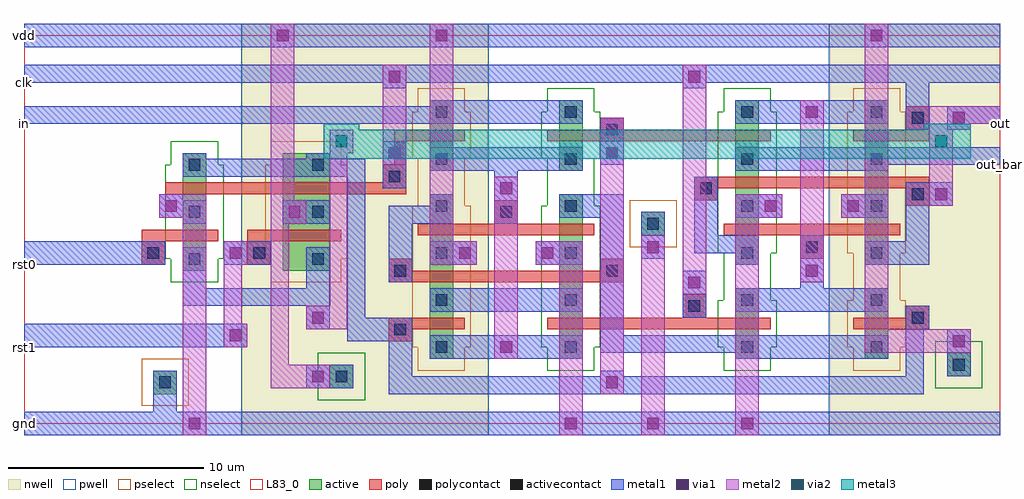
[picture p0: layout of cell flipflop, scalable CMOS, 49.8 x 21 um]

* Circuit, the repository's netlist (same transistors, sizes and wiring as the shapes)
.SUBCKT dlatch din dout dout_bar clk clk_bar vdd gnd
M1 din clk int1 vdd p w=1.2u l=0.6u
M2 din clk_bar int1 gnd n w=1.2u l=0.6u
M3 dout_bar int1 vdd vdd p w=1.2u l=0.6u
M4 dout_bar int1 gnd gnd n w=1.2u l=0.6u
M5 dout dout_bar vdd vdd p w=1.2u l=0.6u
M6 dout dout_bar gnd gnd n w=1.2u l=0.6u
M7 int1 clk_bar dout vdd p w=1.2u l=0.6u
M8 int1 clk dout gnd n w=1.2u l=0.6u
.ENDS dlatch

.SUBCKT flipflop in out out_bar clk rst0 rst1 vdd gnd
M1 clk_bar clk vdd vdd p w=2.4u l=0.6u
M2 clk_bar clk gnd gnd n w=1.2u l=0.6u
M3 out rst1 vdd vdd p w=2.4u l=0.6u
M4 out rst0 gnd gnd n w=1.2u l=0.6u
Xmaster in mout mout_bar clk clk_bar vdd gnd dlatch
Xslave mout_bar out_bar out clk_bar clk vdd gnd dlatch
.ENDS flipflop

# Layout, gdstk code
import gdstk
lib = gdstk.Library(unit=1e-6, precision=1e-09)
def R(c, l, rs):  # rectangles x0, y0, x1, y1
    for r in rs: c.add(gdstk.rectangle(r[:2], r[2:], *l))
def A(c, l, x, y, w, h, nx, ny, dx, dy):  # array of equal rectangles
    R(c, l, [(x+i*dx, y+j*dy, x+i*dx+w, y+j*dy+h) for i in range(nx) for j in range(ny)])
pwell = (41, 0)
nwell = (42, 0)
active = (43, 0)
pselect = (44, 0)
nselect = (45, 0)
poly = (46, 0)
polycontact = (47, 0)
activecontact = (48, 0)
metal1 = (49, 0)
via1 = (50, 0)
metal2 = (51, 0)
via2 = (61, 0)
metal3 = (62, 0)
L83_0 = (83, 0)

flipflop = lib.new_cell('flipflop')
R(flipflop, pwell, [(0,-0.6,11.1,20.4), (23.7,-0.6,41.1,20.4)])
R(flipflop, nwell, [(11.1,-0.6,23.7,20.4), (41.1,-0.6,49.8,20.4)])
R(flipflop, active, [(6.6,1.5,7.8,2.7), (15.6,1.8,16.8,3), (47.1,2.4,48.3,3.6), (20.7,3.3,21.9,11.7), (27.3,3.3,28.5,11.7), (36.3,3.3,37.5,6.9), (42.9,3.3,44.1,6.9), (8.1,7.8,9.3,13.8), (13.2,7.8,15.6,13.8), (36.3,8.1,37.5,16.5), (42.9,8.1,44.1,16.5), (31.5,9.6,32.7,10.8), (20.7,12.9,21.9,16.5), (27.3,12.9,28.5,16.5)])
R(flipflop, pselect, [(6,0.9,8.4,3.3), (20.1,2.7,22.5,3.9), (42.3,2.7,44.7,3.9), (19.8,3.9,22.8,11.1), (42,3.9,45,6.3), (42.3,6.3,44.7,8.7), (12.6,7.2,16.2,8.4), (12.3,8.4,16.5,13.2), (42,8.7,45,15.9), (30.9,9,33.3,11.4), (20.1,11.1,22.5,13.5), (12.6,13.2,16.2,14.4), (19.8,13.5,22.8,15.9), (20.1,15.9,22.5,17.1), (42.3,15.9,44.7,17.1)])
R(flipflop, nselect, [(15,1.2,17.4,3.6), (46.5,1.8,48.9,4.2), (26.7,2.7,29.1,3.9), (35.7,2.7,38.1,3.9), (26.4,3.9,29.4,11.1), (35.4,3.9,38.4,6.3), (35.7,6.3,38.1,8.7), (7.5,7.2,9.9,8.4), (7.2,8.4,10.2,13.2), (35.4,8.7,38.4,15.9), (26.7,11.1,29.1,13.5), (7.5,13.2,9.9,14.4), (26.4,13.5,29.4,15.9), (26.7,15.9,29.1,17.1), (35.7,15.9,38.1,17.1)])
R(flipflop, poly, [(18.6,4.2,19.8,4.8), (18.6,4.8,22.5,5.4), (26.7,4.8,38.1,5.4), (42.3,4.8,46.2,5.4), (33.6,5.4,34.8,6.6), (45,5.4,46.2,6), (18.6,7.2,30.6,7.8), (18.6,7.8,19.8,8.4), (29.4,7.8,30.6,8.4), (6,8.1,7.2,9.3), (11.4,8.1,12.6,9.3), (39.6,8.4,40.8,9.6), (6,9.3,9.9,9.9), (11.4,9.3,16.2,9.9), (20.1,9.6,29.1,10.2), (35.7,9.6,44.7,10.2), (24,10.2,25.2,11.4), (45,11.1,46.2,12), (34.2,11.4,35.4,12), (7.2,11.7,19.5,12.3), (34.2,12,46.2,12.6), (18.3,12.3,19.5,13.2), (18.9,13.2,19.5,14.4), (18.9,14.4,22.5,15), (26.7,14.4,38.1,15), (42.3,14.4,46.2,15), (29.4,15,30.6,15.6), (45,15,46.2,16.2)])
R(flipflop, polycontact, [(18.9,4.5,19.5,5.1), (45.3,5.1,45.9,5.7), (33.9,5.7,34.5,6.3), (18.9,7.5,19.5,8.1), (29.7,7.5,30.3,8.1), (6.3,8.4,6.9,9), (11.7,8.4,12.3,9), (39.9,8.7,40.5,9.3), (24.3,10.5,24.9,11.1), (45.3,11.4,45.9,12), (34.5,11.7,35.1,12.3), (18.6,12.3,19.2,12.9), (29.7,14.7,30.3,15.3), (45.3,15.3,45.9,15.9)])
A(flipflop, activecontact, 21, 3.6, 0.6, 0.6, 1, 6, 0, 2.4)
A(flipflop, activecontact, 27.6, 3.6, 0.6, 0.6, 1, 6, 0, 2.4)
A(flipflop, activecontact, 36.6, 3.6, 0.6, 0.6, 1, 6, 0, 2.4)
A(flipflop, activecontact, 43.2, 3.6, 0.6, 0.6, 1, 6, 0, 2.4)
A(flipflop, activecontact, 8.4, 8.1, 0.6, 0.6, 1, 3, 0, 2.4)
A(flipflop, activecontact, 14.7, 8.1, 0.6, 0.6, 1, 3, 0, 2.4)
R(flipflop, activecontact, [(6.9,1.8,7.5,2.4), (15.9,2.1,16.5,2.7), (47.4,2.7,48,3.3), (31.8,9.9,32.4,10.5)])
R(flipflop, metal1, [(0,-0.6,49.8,0.6), (6.6,0.6,7.8,2.7), (18.6,1.5,45.9,2.4), (14.4,1.8,16.8,3), (18.6,2.4,19.8,4.2), (29.4,2.4,30.6,2.7), (45,2.4,45.9,4.8), (47.1,2.4,48.3,4.8), (20.7,3.3,28.5,4.5), (36.3,3.3,44.1,3.6), (29.4,3.6,44.1,4.5), (0,3.9,11.4,5.1), (16.5,4.2,19.8,5.4), (29.4,4.5,30.6,10.5), (14.4,4.8,15.6,6), (45,4.8,46.2,6), (16.5,5.4,17.4,12.6), (33.6,5.4,34.8,7.8), (20.7,5.7,28.5,6.9), (36.3,5.7,44.1,6.9), (8.1,6,15.6,6.9), (8.1,6.9,9.3,9), (14.4,6.9,15.6,9), (39.6,6.9,40.8,9.6), (18.6,7.2,19.8,10.2), (0,8.1,7.2,9.3), (10.2,8.1,12.6,9.3), (20.7,8.1,23.1,9.3), (26.1,8.1,28.5,9.3), (36.3,8.1,37.5,8.7), (42.9,8.1,46.2,9.3), (31.5,8.4,32.7,10.8), (34.2,8.7,37.5,9.6), (45,9.3,46.2,11.1), (34.2,9.6,35.4,12.6), (8.1,10.2,9.3,10.5), (13.2,10.2,15.6,11.4), (18.6,10.2,21.9,11.1), (24,10.2,25.2,12.9), (6.9,10.5,9.3,11.4), (27.3,10.5,30.6,11.7), (36.3,10.5,38.7,11.7), (41.7,10.5,44.1,11.7), (20.7,11.1,21.9,11.7), (45,11.1,47.4,12.3), (6.9,11.4,8.1,11.7), (18.3,12,19.5,14.4), (8.1,12.6,17.4,13.5), (20.7,12.9,28.5,14.1), (36.3,12.9,44.1,13.2), (29.4,13.2,30.6,15.6), (36.3,13.2,49.8,14.1), (8.1,13.5,9.3,13.8), (14.4,13.5,15.6,13.8), (45,15,46.2,17.4), (47.1,15,48.3,15.3), (0,15.3,28.5,16.2), (36.3,15.3,44.1,16.5), (47.1,15.3,49.8,16.2), (20.7,16.2,28.5,16.5), (18.3,17.1,19.5,17.4), (33.6,17.1,34.8,17.4), (0,17.4,49.8,18.3), (0,19.2,49.8,20.4)])
R(flipflop, via1, [(8.4,-0.3,9,0.3), (27.6,-0.3,28.2,0.3), (31.8,-0.3,32.4,0.3), (36.6,-0.3,37.2,0.3), (29.7,1.8,30.3,2.4), (14.7,2.1,15.3,2.7), (24.3,3.6,24.9,4.2), (47.4,3.9,48,4.5), (10.5,4.2,11.1,4.8), (14.7,5.1,15.3,5.7), (33.9,6.9,34.5,7.5), (39.9,7.5,40.5,8.1), (10.5,8.4,11.1,9), (22.2,8.4,22.8,9), (26.4,8.4,27,9), (31.8,8.7,32.4,9.3), (13.5,10.5,14.1,11.1), (7.2,10.8,7.8,11.4), (37.8,10.8,38.4,11.4), (42,10.8,42.6,11.4), (46.5,11.4,47.1,12), (24.3,11.7,24.9,12.3), (18.6,13.5,19.2,14.1), (29.7,13.5,30.3,14.1), (47.4,15.3,48,15.9), (39.9,15.6,40.5,16.2), (18.6,17.4,19.2,18), (33.9,17.4,34.5,18), (12.9,19.5,13.5,20.1), (21,19.5,21.6,20.1), (43.2,19.5,43.8,20.1)])
R(flipflop, metal2, [(8.1,-0.6,9.3,10.5), (27.3,-0.6,28.5,8.1), (31.5,-0.6,32.7,9.6), (36.3,-0.6,37.5,10.5), (29.4,1.5,30.6,15.6), (12.6,1.8,15.6,3), (12.6,3,13.5,10.2), (24,3.3,25.2,12.6), (42.9,3.6,48.3,4.8), (10.2,3.9,11.4,5.1), (14.4,4.8,16.5,6), (42.9,4.8,44.1,10.5), (10.2,5.1,11.1,8.1), (15.6,6,16.5,13.8), (33.6,6.6,34.8,18.3), (39.6,7.2,40.8,16.5), (10.2,8.1,11.4,9.3), (20.7,8.1,23.1,9.3), (26.1,8.1,28.5,9.3), (20.7,9.3,21.9,20.4), (12.6,10.2,14.4,11.4), (6.9,10.5,9.3,11.7), (36.3,10.5,38.7,11.7), (41.7,10.5,44.1,11.7), (46.2,11.1,47.4,15), (12.6,11.4,13.8,20.4), (42.9,11.7,44.1,20.4), (18.3,13.2,19.5,18.3), (15.6,13.8,16.8,15), (46.2,15,48.3,15.3), (46.2,15.3,49.8,16.2)])
R(flipflop, via2, [(15.9,14.1,16.5,14.7), (46.5,14.1,47.1,14.7)])
R(flipflop, metal3, [(15.3,13.5,48.3,15), (15.3,15,17.1,15.3), (45.9,15,48.3,15.3)])
R(flipflop, L83_0, [(0,0,49.8,19.8)])
flipflop.add(gdstk.Label('out', (49.8,15.3), layer=49, texttype=0))
flipflop.add(gdstk.Label('out_bar', (49.8,13.2), layer=49, texttype=0))
flipflop.add(gdstk.Label('clk', (0,17.4), layer=49, texttype=0))
flipflop.add(gdstk.Label('vdd', (0,19.8), layer=49, texttype=0))
flipflop.add(gdstk.Label('in', (0,15.3), layer=49, texttype=0))
flipflop.add(gdstk.Label('rst0', (0,8.1), layer=49, texttype=0))
flipflop.add(gdstk.Label('rst1', (0,3.9), layer=49, texttype=0))
flipflop.add(gdstk.Label('gnd', (0,0), layer=49, texttype=0))

lib.write_gds('flipflop.gds')
